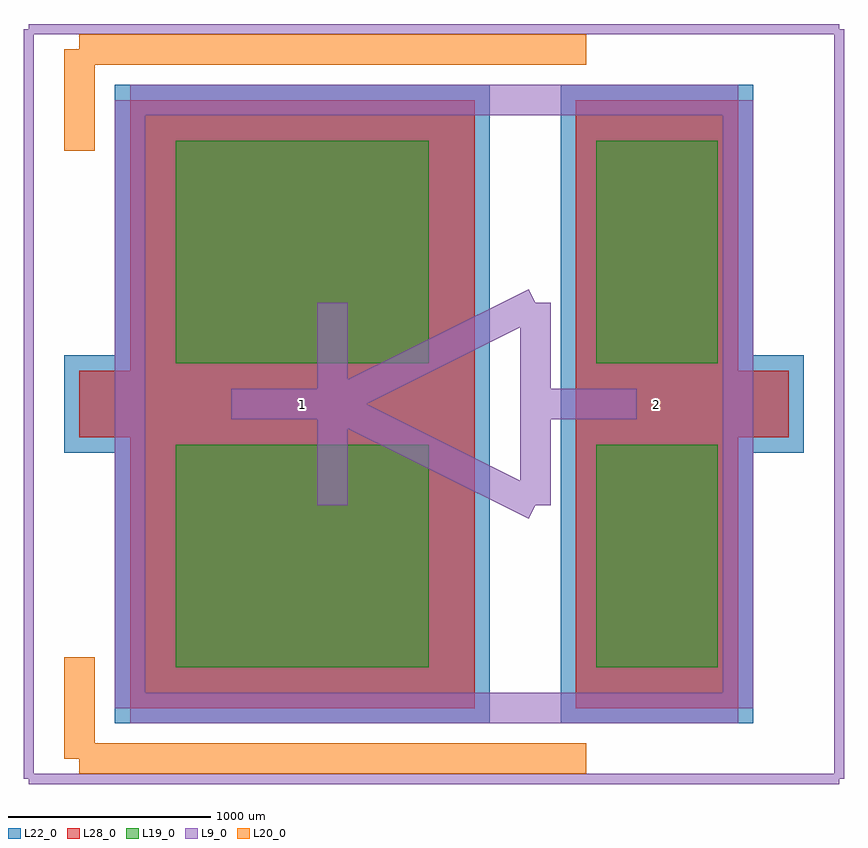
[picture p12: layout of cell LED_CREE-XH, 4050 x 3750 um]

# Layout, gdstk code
import gdstk
lib = gdstk.Library(unit=1e-6, precision=1e-09)
def R(c, l, rs):  # rectangles x0, y0, x1, y1
    for r in rs: c.add(gdstk.rectangle(r[:2], r[2:], *l))
L9_0 = (9, 0)
L19_0 = (19, 0)
L20_0 = (20, 0)
L22_0 = (22, 0)
L28_0 = (28, 0)

led_cree_xh = lib.new_cell('LED_CREE-XH')
R(led_cree_xh, L19_0, [(-1275,-1300,-25,-200), (800,-1300,1400,-200), (-1275,200,-25,1300), (800,200,1400,1300)])
R(led_cree_xh, L22_0, [(-1575,-1575,275,1575), (625,-1575,1575,1575), (-1400,-1425,100,-75), (675,-1425,1525,-75), (-1825,-240,-1175,240), (1175,-240,1825,240), (-1400,75,100,1425), (675,75,1525,1425)])
R(led_cree_xh, L28_0, [(-1500,-1500,200,1500), (700,-1500,1500,1500), (-1325,-1350,25,-150), (750,-1350,1450,-150), (-1750,-165,-1250,165), (1250,-165,1750,165), (-1325,150,25,1350), (750,150,1450,1350)])
led_cree_xh.add(gdstk.FlexPath([(-1500,1500),(1500,1500)], 149.998, ends="flush", simple_path=True, layer=9, datatype=0))  # L9_0
led_cree_xh.add(gdstk.FlexPath([(1500,1500),(1500,-1500)], 149.998, ends="flush", simple_path=True, layer=9, datatype=0))  # L9_0
led_cree_xh.add(gdstk.FlexPath([(1500,-1500),(-1500,-1500)], 149.998, ends="flush", simple_path=True, layer=9, datatype=0))  # L9_0
led_cree_xh.add(gdstk.FlexPath([(-1500,-1500),(-1500,1500)], 149.998, ends="flush", simple_path=True, layer=9, datatype=0))  # L9_0
led_cree_xh.add(gdstk.FlexPath([(-2000,1850),(-2000,-1850)], 50, ends="flush", simple_path=True, layer=9, datatype=0))  # L9_0
led_cree_xh.add(gdstk.FlexPath([(-2000,-1850),(2000,-1850)], 50, ends="flush", simple_path=True, layer=9, datatype=0))  # L9_0
led_cree_xh.add(gdstk.FlexPath([(2000,-1850),(2000,1850)], 50, ends="flush", simple_path=True, layer=9, datatype=0))  # L9_0
led_cree_xh.add(gdstk.FlexPath([(2000,1850),(-2000,1850)], 50, ends="flush", simple_path=True, layer=9, datatype=0))  # L9_0
led_cree_xh.add(gdstk.FlexPath([(750,1750),(-1750,1750)], 149.998, ends="flush", simple_path=True, layer=20, datatype=0))  # L20_0
led_cree_xh.add(gdstk.FlexPath([(-1750,1750),(-1750,1250)], 149.998, ends="flush", simple_path=True, layer=20, datatype=0))  # L20_0
led_cree_xh.add(gdstk.FlexPath([(-1750,-1250),(-1750,-1750)], 149.998, ends="flush", simple_path=True, layer=20, datatype=0))  # L20_0
led_cree_xh.add(gdstk.FlexPath([(-1750,-1750),(750,-1750)], 149.998, ends="flush", simple_path=True, layer=20, datatype=0))  # L20_0
led_cree_xh.add(gdstk.FlexPath([(1000,0),(500,0)], 149.998, ends="flush", simple_path=True, layer=9, datatype=0))  # L9_0
led_cree_xh.add(gdstk.FlexPath([(-1000,0),(-500,0)], 149.998, ends="flush", simple_path=True, layer=9, datatype=0))  # L9_0
led_cree_xh.add(gdstk.FlexPath([(-500,500),(-500,-500)], 149.998, ends="flush", simple_path=True, layer=9, datatype=0))  # L9_0
led_cree_xh.add(gdstk.FlexPath([(-500,0),(500,500)], 149.998, ends="flush", simple_path=True, layer=9, datatype=0))  # L9_0
led_cree_xh.add(gdstk.FlexPath([(500,500),(500,-500)], 149.998, ends="flush", simple_path=True, layer=9, datatype=0))  # L9_0
led_cree_xh.add(gdstk.FlexPath([(500,-500),(-500,0)], 149.998, ends="flush", simple_path=True, layer=9, datatype=0))  # L9_0
led_cree_xh.add(gdstk.Label('2', (1100,0), layer=28, texttype=0))
led_cree_xh.add(gdstk.Label('1', (-650,0), layer=28, texttype=0))
led_cree_xh.add(gdstk.Label('type', (0,3300), layer=9, texttype=0))
led_cree_xh.add(gdstk.Label('devicename', (0,-2700), layer=9, texttype=0))

lib.write_gds('LED_CREE-XH.gds')
